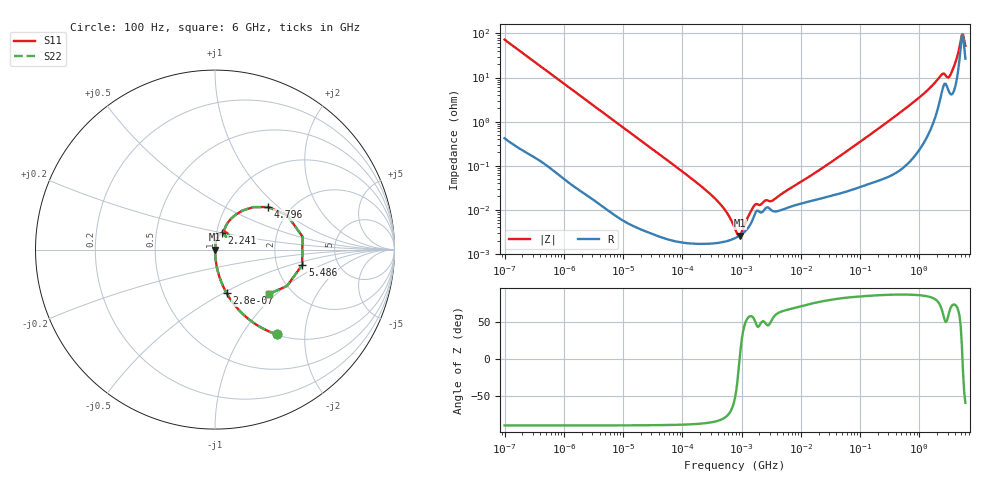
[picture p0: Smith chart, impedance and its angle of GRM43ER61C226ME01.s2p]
!Murata Part Number: GRM43ER61C226ME01
!These Parameters are Measured in Series Mode Connection
!Data Generated on Mar 30, 2021
!  o--ll--o
!Port1  Port2
!  o------o
!Operation Temp=25[degC], DC Bias Voltage=0[V]
!Freq. Start=100[Hz] Stop=6[GHz] 401[Steps]
# Hz S RI R 50
!Freq.(Hz) S11(Real) S11(Imag) S21(Real) S21(Imag) S12(Real) S12(Imag) S22(Real) S22(Imag)
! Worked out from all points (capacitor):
!   401 points, 100 Hz to 6 GHz, reference 50 ohm
!   read as one part in series: C = 21.9 uF near 109 Hz
!   lowest |Z| = 2.59 mohm at 926.5 kHz (marker M1)
!   series resonance near 5.358 GHz, so ESL is about 0.04 fH
!   S11 on the Smith chart (normalised r, x): 100 Hz: 1.01, -1.45; 280 Hz: 1.00, -0.52; 2.241 GHz: 1.06, +0.20; 4.796 GHz: 1.55, +0.86; 5.486 GHz: 2.79, -0.63; 6 GHz: 1.54, -0.90
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100  0.3458 -0.4728  0.6542 0.4728  0.6542 0.4728  0.3458 -0.4728
171  0.1543 -0.3583  0.8457 0.3583  0.8457 0.3583  0.1543 -0.3583
280  0.0647 -0.2428  0.9353 0.2428  0.9353 0.2428  0.0647 -0.2428
656  0.013 -0.11  0.987 0.11  0.987 0.11  0.013 -0.11
2008  0.00159 -0.0365  0.9984 0.0365  0.9984 0.0365  0.00159 -0.0365
40335  2.82e-05 -0.00184  1 0.00184  1 0.00184  2.82e-05 -0.00184
221108  1.69e-05 -0.000318  1 0.000318  1 0.000318  1.69e-05 -0.000318
517687  1.88e-05 -9.96e-05  1 9.96e-05  1 9.96e-05  1.88e-05 -9.96e-05
774597  2.26e-05 -2.94e-05  1 2.94e-05  1 2.94e-05  2.26e-05 -2.94e-05
926525  2.59e-05 0  1 0  1 0  2.59e-05 0
1386327  4.49e-05 7.15e-05  1 -7.15e-05  1 -7.15e-05  4.49e-05 7.15e-05
2481164  0.000104 0.000122  0.9999 -0.000122  0.9999 -0.000122  0.000104 0.000122
3394479  9.29e-05 0.000135  0.9999 -0.000135  0.9999 -0.000135  9.29e-05 0.000135
1.555665e7  0.00016 0.000603  0.9998 -0.000603  0.9998 -0.000603  0.00016 0.000603
3.124326e8  0.000682 0.0105  0.9993 -0.0105  0.9993 -0.0105  0.000682 0.0105
1.144649e9  0.00468 0.0408  0.9953 -0.0408  0.9953 -0.0408  0.00468 0.0408
2.240541e9  0.0394 0.0942  0.9606 -0.0942  0.9606 -0.0942  0.0394 0.0942
3.205649e9  0.0518 0.0851  0.9482 -0.0851  0.9482 -0.0851  0.0518 0.0851
4.009986e9  0.0885 0.1712  0.9115 -0.1712  0.9115 -0.1712  0.0885 0.1712
4.796499e9  0.2964 0.2371  0.7036 -0.2371  0.7036 -0.2371  0.2964 0.2371
5.486059e9  0.4862 -0.0854  0.5138 0.0854  0.5138 0.0854  0.4862 -0.0854
6e9  0.2987 -0.2479  0.7013 0.2479  0.7013 0.2479  0.2987 -0.2479
